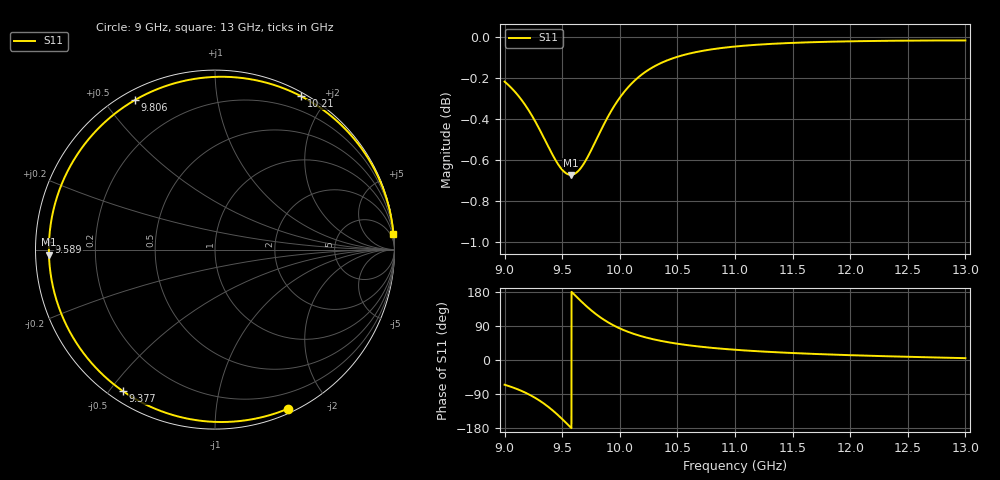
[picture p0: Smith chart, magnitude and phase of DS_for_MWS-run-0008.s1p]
! TOUCHSTONE file generated by CST DESIGN STUDIO
! Date and time: Tue Feb  4 13:08:15 2025
! Project name: C:\Work\MatlabApps\UnitCellOptimizationMatlab\CST\unitcell.cst
! Tree item: Tasks\Sweep1\SPara1\S-Parameters
! Header version: 2024
! Port assignment regex: !\s*Touchstone port\s*([0-9]+)\s*=\s*(CST MWS port|CST DES external port|CST DES block port)\s*(.+)\s* \(\"(.*)\"\)(\s*mode\s*([0-9]+))?.*
! Touchstone port assignment:
! Touchstone port 1 = CST DES external port 1 ("")
# GHz S MA R 50
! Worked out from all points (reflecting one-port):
!   4001 points, 9 GHz to 13 GHz, reference 50 ohm
!   lowest |S11| = -0.7 dB at 9.575 GHz (marker M1), VSWR 25.88, Z = 1.93 - j0.75 ohm
!   phase of S11 starts at -65 deg and turns -290 deg over the sweep
!   S11 on the Smith chart (normalised r, x): 9 GHz: 0.04, -1.56; 9.377 GHz: 0.04, -0.54; 9.589 GHz: 0.04, +0.02; 9.806 GHz: 0.04, +0.60; 10.21 GHz: 0.04, +1.71; 13 GHz: 1, +24
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9  0.9752 -65.3
9.044  0.9727 -69.5
9.112  0.968 -77.1
9.228  0.9577 -93.5
9.307  0.949 -107.9
9.377  0.9406 -123.1
9.437  0.9338 -138.2
9.5  0.9282 -155.8
9.538  0.9263 -167.1
9.575  0.9256 -178.3
9.589  0.9257 177.5
9.644  0.9279 160.9
9.705  0.9332 143.4
9.755  0.9389 130.2
9.806  0.9452 118.0
9.848  0.9504 109.0
9.894  0.9559 100.2
10  0.9665 83.3
10.101  0.974 71.1
10.212  0.98 60.7
10.345  0.985 51.2
10.5  0.9888 42.9
10.721  0.9921 34.4
11  0.9945 27.0
11.5  0.9965 18.4
12  0.9974 12.7
12.5  0.9978 8.4
13  0.9979 4.9
